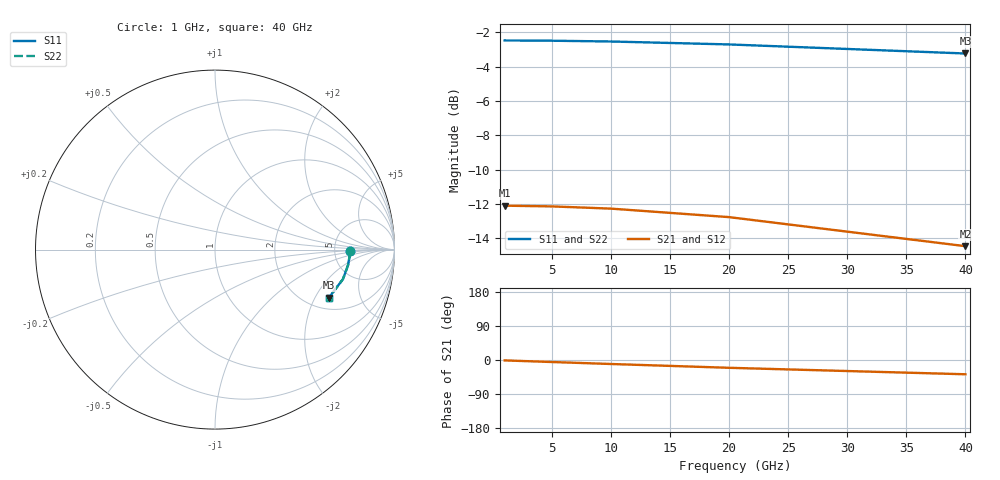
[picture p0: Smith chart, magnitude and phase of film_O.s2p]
! EM-TFR film section of run O: o_dut.s2p de-embedded by half of o_thru.s2p (README)
# GHz S RI R 50
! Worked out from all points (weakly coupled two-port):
!   5 points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, 1 GHz to 40 GHz, reference 50 ohm
!   highest |S21| = -12.10 dB at 1 GHz (marker M1); lowest = -14.5 dB at 40 GHz (marker M2)
!   lowest |S11| = -3.2 dB at 40 GHz (marker M3), VSWR 5.42, Z = 128 - j130 ohm
!   |S11| at or under -10 dB: nowhere
!   |S22| runs from -3.2 to -2.5 dB; largest |S21 - S12| = 1.1e-05
1  0.7513 -0.00894  0.2484 -0.00465  0.2484 -0.00465  0.7513 -0.009
5  0.7487 -0.0444  0.2462 -0.0229  0.2462 -0.0229  0.7487 -0.0447
10  0.741 -0.0873  0.2395 -0.0446  0.2395 -0.0446  0.7409 -0.0879
20  0.7129 -0.1644  0.2154 -0.0809  0.2154 -0.0809  0.7126 -0.1654
40  0.634 -0.2684  0.15 -0.1157  0.15 -0.1157  0.633 -0.2702
